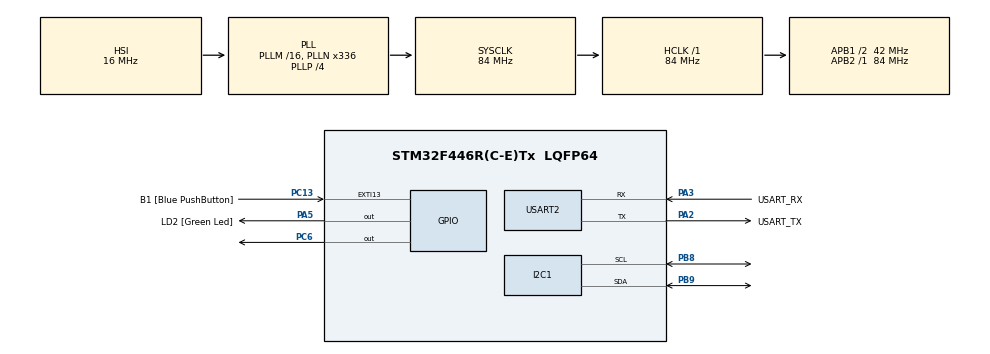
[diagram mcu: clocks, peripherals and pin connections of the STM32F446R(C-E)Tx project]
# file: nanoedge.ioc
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I2C1.I2C_Mode=I2C_Fast
Mcu.Family=STM32F4
Mcu.Name=STM32F446R(C-E)Tx
Mcu.Package=LQFP64
NVIC.PriorityGroup=NVIC_PRIORITYGROUP_0
PA13.GPIO_Label=TMS
PA13.Mode=Serial_Wire
PA13.Signal=SYS_JTMS-SWDIO
PA14.GPIO_Label=TCK
PA14.Mode=Serial_Wire
PA14.Signal=SYS_JTCK-SWCLK
PA2.GPIO_Label=USART_TX
PA2.Mode=Asynchronous
PA2.Signal=USART2_TX
PA3.GPIO_Label=USART_RX
PA3.Mode=Asynchronous
PA3.Signal=USART2_RX
PA5.GPIO_Label=LD2 [Green Led]
PA5.Signal=GPIO_Output
PB3.GPIO_Label=SWO
PB3.Signal=SYS_JTDO-SWO
PB8.Mode=I2C
PB8.Signal=I2C1_SCL
PB9.Mode=I2C
PB9.Signal=I2C1_SDA
PC13.GPIO_Label=B1 [Blue PushButton]
PC13.GPIO_ModeDefaultEXTI=GPIO_MODE_IT_FALLING
PC13.Signal=GPXTI13
PC14-OSC32_IN.Mode=LSE-External-Oscillator
PC14-OSC32_IN.Signal=RCC_OSC32_IN
PC15-OSC32_OUT.Mode=LSE-External-Oscillator
PC15-OSC32_OUT.Signal=RCC_OSC32_OUT
PC6.Signal=GPIO_Output
PH0-OSC_IN.Mode=HSE-External-Oscillator
PH0-OSC_IN.Signal=RCC_OSC_IN
PH1-OSC_OUT.Mode=HSE-External-Oscillator
PH1-OSC_OUT.Signal=RCC_OSC_OUT
ProjectManager.HeapSize=0x200
ProjectManager.StackSize=0x400
ProjectManager.TargetToolchain=STM32CubeIDE
RCC.48MHZClocksFreq_Value=84000000
RCC.AHBFreq_Value=84000000
RCC.APB1CLKDivider=RCC_HCLK_DIV2
RCC.APB1Freq_Value=42000000
RCC.APB1TimFreq_Value=84000000
RCC.APB2Freq_Value=84000000
RCC.APB2TimFreq_Value=84000000
RCC.CortexFreq_Value=84000000
RCC.FLatency-AdvancedSettings=FLASH_LATENCY_2
RCC.HCLKFreq_Value=84000000
RCC.HSE_VALUE=8000000
RCC.HSI_VALUE=16000000
RCC.PLLN=336
RCC.PLLP=RCC_PLLP_DIV4
RCC.SYSCLKFreq_VALUE=84000000
RCC.SYSCLKSource=RCC_SYSCLKSOURCE_PLLCLK
RCC.USBFreq_Value=168000000
RCC.VCOOutputFreq_Value=336000000
USART2.VirtualMode=VM_ASYNC
board=NUCLEO-F446RE

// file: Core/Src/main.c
/* USER CODE BEGIN Header */
/**
 ******************************************************************************
 * @file           : main.c
 * @brief          : Main program body
 ******************************************************************************
 * @attention
 *
 * Copyright (c) 2022 STMicroelectronics.
 * All rights reserved.
 *
 * This software is licensed under terms that can be found in the LICENSE file
 * in the root directory of this software component.
 * If no LICENSE file comes with this software, it is provided AS-IS.
 *
 ******************************************************************************
 */
/* USER CODE END Header */
#include "main.h"
#include "i2c.h"
#include "usart.h"
#include "gpio.h"

/* USER CODE BEGIN Includes */
#include <stdio.h>
#include <math.h>

#include "NanoEdgeAI.h"
#include "knowledge.h"
/* USER CODE END Includes */

/* USER CODE BEGIN PD */

#define LSM303AGR_ACC_ADDR (0x19<<1) // Accelerometer address (notre adresse est sur 7 bits, on ne perd pas l'information en faisant le décalage)
#define LSM303AGR_WHO_AM_I_A (0x0F) // Accelerometer Who am I Register

#define LSM303AGR_CTRL_REG1_A (0x20) // CTRL register 1
#define LSM303AGR_CTRL_REG5_A (0x24) // CTRL register 5
#define LSM303AGR_OUT_X_L_A (0x28) // Acceleration Registers

/* USER CODE END PD */

/* USER CODE BEGIN PM */
#define BUFFER_LENGTH 32
#define CLASS_NUMBER 3
/* USER CODE END PM */

/* USER CODE BEGIN PV */
char acc_data_write[2];
char acc_data_read[6];

/* USER CODE END PV */

void SystemClock_Config(void);
/* USER CODE BEGIN PFP */
void powerup_sensor(void); // power-up sensor and set basics parameters

void get_data(void); // read acceleration in acc_data_read[0:5] and magnetic field in mag_data_read[0:5]

void soft_reset(void); // reset sensor internal parameters ("factory reset")

void read_registers(void); // read all accelerometer and magnetometer registers and print it on serial

int16_t fusionbinaire(uint8_t LSB, uint8_t MSB);

/* USER CODE END PFP */

/* USER CODE BEGIN 0 */

void __io_putchar(uint8_t ch) {
	HAL_UART_Transmit(&huart2, &ch, 1, 1);
}

int16_t fusionbinaire(uint8_t LSB, uint8_t MSB) {
	int16_t res = 0x0000;
	if (MSB & (1 << 7)) {
		MSB = (uint8_t) ((~MSB) + 1);
		res |= LSB >> 6;
		res |= (MSB << 2);
		res = (int16_t) ((~res) + 1);
	} else {
		res |= LSB >> 6;
		res |= (MSB << 2);
	}
	return res;
}

void get_data(void) {
	acc_data_write[0] = LSM303AGR_OUT_X_L_A | (1 << 7);
	HAL_I2C_Master_Transmit(&hi2c1, LSM303AGR_ACC_ADDR,
			(uint8_t*) acc_data_write, 1, 6000);
	HAL_I2C_Master_Receive(&hi2c1, LSM303AGR_ACC_ADDR, (uint8_t*) acc_data_read,
			6, 6000);

}
void powerup_sensor(void) {
	// Turn on accelerometer
	HAL_StatusTypeDef ret;
	// Accelerometer test
	acc_data_write[0] = LSM303AGR_WHO_AM_I_A;

	ret = HAL_I2C_Master_Transmit(&hi2c1, LSM303AGR_ACC_ADDR,
			(uint8_t*) acc_data_write, 1, 2000);
	if (ret != HAL_OK) {
		printf("FAILED TX1: RETURN ERROR: %d", ret);
	}

	HAL_I2C_Master_Receive(&hi2c1, LSM303AGR_ACC_ADDR, (uint8_t*) acc_data_read,
			1, 1000);
	printf("RECEIVED ACCELEROMETER 'WHO AM I' WITH ID : (0x%.2x)\n\r",
			acc_data_read[0]);

}

void soft_reset(void) {
	acc_data_write[0] = LSM303AGR_CTRL_REG5_A | (1 << 7);
	acc_data_write[1] = 0x40; //Reboot memory content -> en binaire 0b10000000
	HAL_I2C_Master_Transmit(&hi2c1, LSM303AGR_ACC_ADDR,
			(uint8_t*) acc_data_write, 2, 1000);
	HAL_Delay(100);
	acc_data_write[0] = LSM303AGR_CTRL_REG1_A;
	acc_data_write[1] = 0x27; //10 Hz, ENABLE X-AXIS,Y-AXIS,Z-AXIS
	HAL_I2C_Master_Transmit(&hi2c1, LSM303AGR_ACC_ADDR,
			(uint8_t*) acc_data_write, 2, 1000);
	printf("SOFT RESET [OK]\n\r");
}

/* USER CODE END 0 */

int main(void) {
	/* USER CODE BEGIN 1 */
	int16_t aXm, aYm, aZm; //valeurs brutes accéléromètre
	/* USER CODE END 1 */

	/* MCU Configuration--------------------------------------------------------*/

	/* Reset of all peripherals, Initializes the Flash interface and the Systick. */
	HAL_Init();

	/* Configure the system clock */
	SystemClock_Config();

	/* Initialize all configured peripherals */
	MX_GPIO_Init();
	MX_USART2_UART_Init();
	MX_I2C1_Init();
	/* USER CODE BEGIN 2 */
	enum neai_state error_code = neai_classification_init(knowledge);
	if (error_code != NEAI_OK) {
		printf("Failed to load knowledge");
	}

	/* NANOEDGE INIT */
	uint16_t id_class = 0;
	float output_class_buffer[CLASS_NUMBER];
	float input_user_buffer[BUFFER_LENGTH * 3];

	/* Global INIT */
	printf("\033[2J\033[33m\r---- POSTURE ANALYZER) ----\n\r\033[0m");
	soft_reset();
	powerup_sensor();
	/* USER CODE END 2 */

	/* Infinite loop */
	/* USER CODE BEGIN WHILE */
	HAL_Delay(2000);
	uint16_t buff_count = 0;
	while (1) {
		HAL_Delay(125);
		get_data();
		aXm = fusionbinaire(acc_data_read[0], acc_data_read[1]);
		aYm = fusionbinaire(acc_data_read[2], acc_data_read[3]);
		aZm = fusionbinaire(acc_data_read[4], acc_data_read[5]);

		// PRINTING VALUES
		buff_count++;
		/* Code Section for Training */
		printf("%03d %03d %03d", aXm, aYm, aZm);

		/* NANOEDGE BUFFER FILLING */
		input_user_buffer[3 * (buff_count - 1)] = aXm;
		input_user_buffer[3 * (buff_count - 1) + 1] = aYm;
		input_user_buffer[3 * (buff_count - 1) + 2] = aZm;

		if (buff_count % BUFFER_LENGTH == 0) {
			printf("\n\r");
			buff_count = 0;

			/* NANOEDGE CLASSIFICATION */

			neai_classification(input_user_buffer, output_class_buffer, &id_class);
			printf("PREDICTED CLASS : %d\n",id_class);
		} else
			printf(" ");

		/* USER CODE END WHILE */

	}
}

void SystemClock_Config(void) {
	RCC_OscInitTypeDef RCC_OscInitStruct = { 0 };
	RCC_ClkInitTypeDef RCC_ClkInitStruct = { 0 };

	/** Configure the main internal regulator output voltage
	 */
	__HAL_RCC_PWR_CLK_ENABLE();
	__HAL_PWR_VOLTAGESCALING_CONFIG(PWR_REGULATOR_VOLTAGE_SCALE3);

	/** Initializes the RCC Oscillators according to the specified parameters
	 * in the RCC_OscInitTypeDef structure.
	 */
	RCC_OscInitStruct.OscillatorType = RCC_OSCILLATORTYPE_HSI;
	RCC_OscInitStruct.HSIState = RCC_HSI_ON;
	RCC_OscInitStruct.HSICalibrationValue = RCC_HSICALIBRATION_DEFAULT;
	RCC_OscInitStruct.PLL.PLLState = RCC_PLL_ON;
	RCC_OscInitStruct.PLL.PLLSource = RCC_PLLSOURCE_HSI;
	RCC_OscInitStruct.PLL.PLLM = 16;
	RCC_OscInitStruct.PLL.PLLN = 336;
	RCC_OscInitStruct.PLL.PLLP = RCC_PLLP_DIV4;
	RCC_OscInitStruct.PLL.PLLQ = 2;
	RCC_OscInitStruct.PLL.PLLR = 2;
	if (HAL_RCC_OscConfig(&RCC_OscInitStruct) != HAL_OK) {
		Error_Handler();
	}

	/** Initializes the CPU, AHB and APB buses clocks
	 */
	RCC_ClkInitStruct.ClockType = RCC_CLOCKTYPE_HCLK | RCC_CLOCKTYPE_SYSCLK
			| RCC_CLOCKTYPE_PCLK1 | RCC_CLOCKTYPE_PCLK2;
	RCC_ClkInitStruct.SYSCLKSource = RCC_SYSCLKSOURCE_PLLCLK;
	RCC_ClkInitStruct.AHBCLKDivider = RCC_SYSCLK_DIV1;
	RCC_ClkInitStruct.APB1CLKDivider = RCC_HCLK_DIV2;
	RCC_ClkInitStruct.APB2CLKDivider = RCC_HCLK_DIV1;

	if (HAL_RCC_ClockConfig(&RCC_ClkInitStruct, FLASH_LATENCY_2) != HAL_OK) {
		Error_Handler();
	}
}

void Error_Handler(void) {
	__disable_irq();
	while (1) {
	}
}
